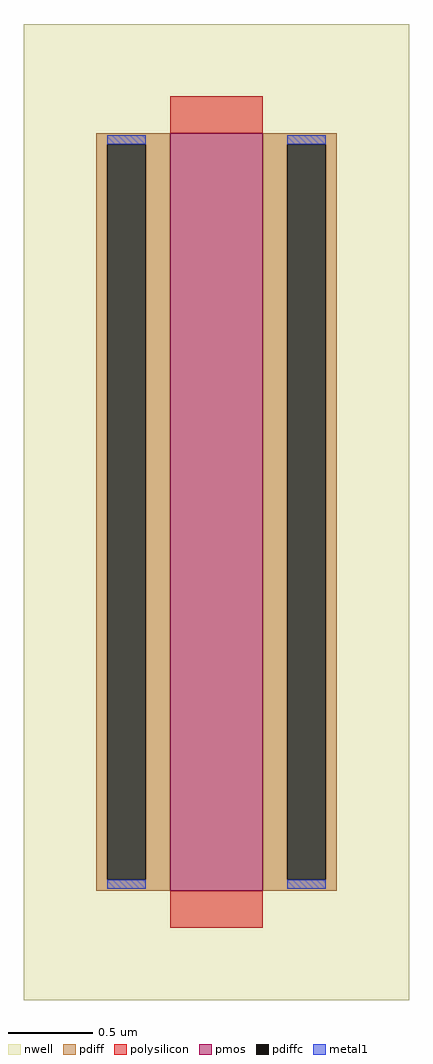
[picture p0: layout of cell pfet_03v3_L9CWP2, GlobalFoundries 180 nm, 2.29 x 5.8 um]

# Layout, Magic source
magic
tech gf180mcuD
magscale 1 10
<< nwell >>
rect -229 -580 229 580
<< pmos >>
rect -55 -450 55 450
<< pdiff >>
rect -143 437 -55 450
rect -143 -437 -130 437
rect -84 -437 -55 437
rect -143 -450 -55 -437
rect 55 437 143 450
rect 55 -437 84 437
rect 130 -437 143 437
rect 55 -450 143 -437
<< pdiffc >>
rect -130 -437 -84 437
rect 84 -437 130 437
<< polysilicon >>
rect -55 450 55 494
rect -55 -494 55 -450
<< metal1 >>
rect -130 437 -84 448
rect -130 -448 -84 -437
rect 84 437 130 448
rect 84 -448 130 -437
<< properties >>
string gencell pfet_03v3
string library gf180mcu
string parameters w 4.5 l 0.55 m 1 nf 1 diffcov 100 polycov 100 guard 0 glc 1 grc 1 gtc 0 gbc 0 tbcov 100 rlcov 100 topc 0 botc 0 poverlap 0 doverlap 1 lmin 0.28 wmin 0.22 class mosfet full_metal 1 compatible {pfet_03v3 pfet_06v0}
<< end >>
